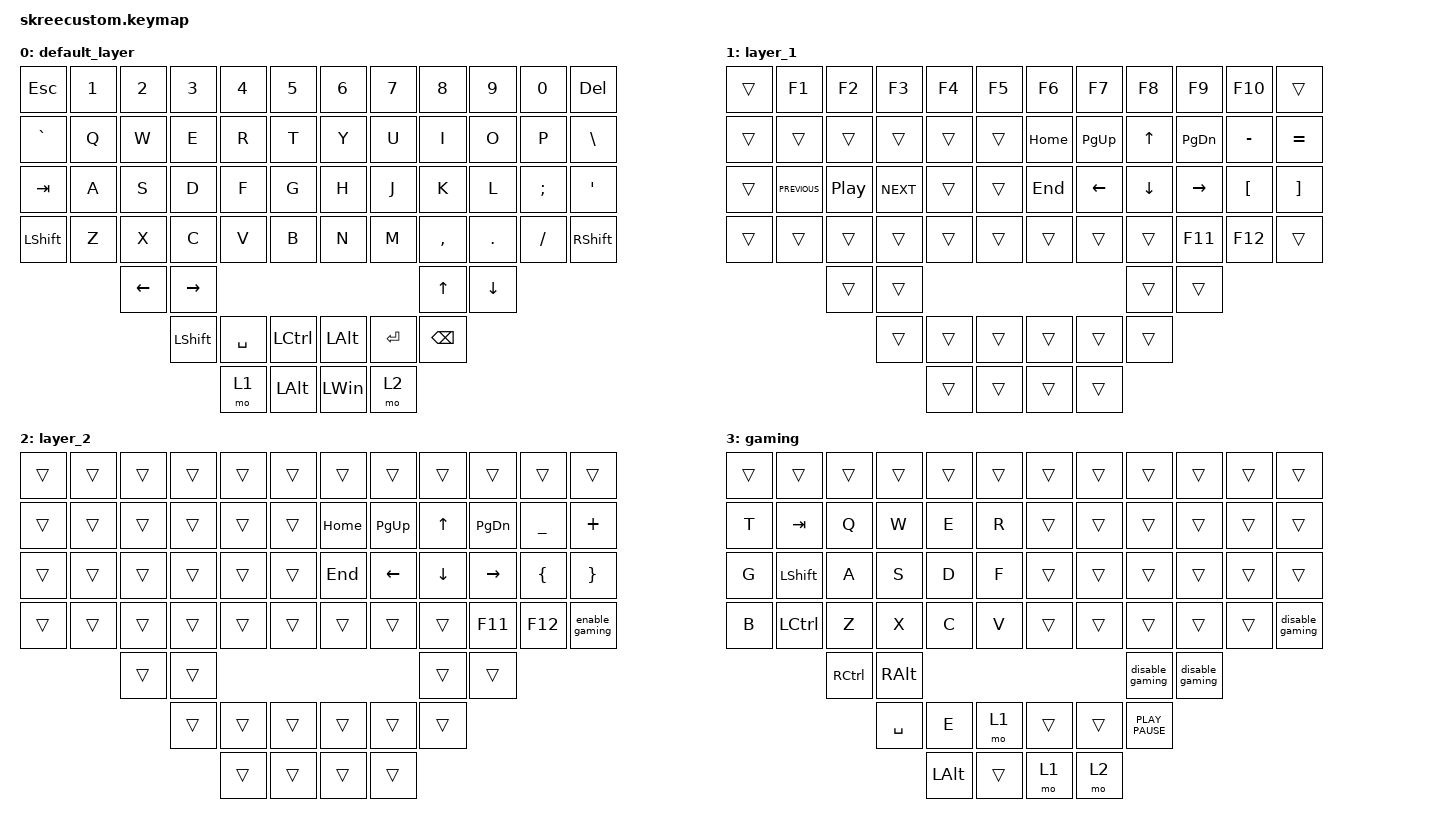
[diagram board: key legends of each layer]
/*
 * Copyright (c) 2020 The ZMK Contributors
 *
 * SPDX-License-Identifier: MIT
 */

#include <input/processors.dtsi>
#include <dt-bindings/zmk/input_transform.h>
#include <behaviors.dtsi>
#include <dt-bindings/zmk/keys.h>
#include <dt-bindings/zmk/rgb.h>

/ {
    macros {
        enable_gaming: enable_gaming {
            compatible = "zmk,behavior-macro";
            #binding-cells = <0>;
            bindings = <&rgb_ug RGB_ON &to 3>;
            label = "ENABLE_GAMING";
        };

        disable_gaming: disable_gaming {
            compatible = "zmk,behavior-macro";
            #binding-cells = <0>;
            bindings = <&rgb_ug RGB_OFF &to 0>;
            label = "DISABLE_GAMING";
        };
    };

    keymap {
        compatible = "zmk,keymap";

        default_layer {
            bindings = <
&kp ESC         &kp N1  &kp N2    &kp N3     &kp N4     &kp N5          &kp N6        &kp N7   &kp N8         &kp N9    &kp N0    &kp DELETE
&kp GRAVE       &kp Q   &kp W     &kp E      &kp R      &kp T           &kp Y         &kp U    &kp I          &kp O     &kp P     &kp BACKSLASH
&kp TAB         &kp A   &kp S     &kp D      &kp F      &kp G           &kp H         &kp J    &kp K          &kp L     &kp SEMI  &kp SQT
&kp LEFT_SHIFT  &kp Z   &kp X     &kp C      &kp V      &kp B           &kp N         &kp M    &kp COMMA      &kp DOT   &kp FSLH  &kp RIGHT_SHIFT
                        &kp LEFT  &kp RIGHT                                                    &kp UP         &kp DOWN
                                  &kp LSHFT  &kp SPACE  &kp LCTRL       &kp LEFT_ALT  &kp RET  &kp BACKSPACE
                                             &mo 1      &kp LEFT_ALT    &kp LEFT_WIN  &mo 2
            >;
        };

        layer_1 {
            bindings = <
&trans  &kp F1          &kp F2            &kp F3      &kp F4  &kp F5    &kp F6    &kp F7       &kp F8        &kp F9         &kp F10           &trans
&trans  &trans          &trans            &trans      &trans  &trans    &kp HOME  &kp PAGE_UP  &kp UP_ARROW  &kp PAGE_DOWN  &kp MINUS         &kp EQUAL
&trans  &kp C_PREVIOUS  &kp C_PLAY_PAUSE  &kp C_NEXT  &trans  &trans    &kp END   &kp LEFT     &kp DOWN      &kp RIGHT      &kp LEFT_BRACKET  &kp RIGHT_BRACKET
&trans  &trans          &trans            &trans      &trans  &trans    &trans    &trans       &trans        &kp F11        &kp F12           &trans
                        &trans            &trans                                               &trans        &trans
                                          &trans      &trans  &trans    &trans    &trans       &trans
                                                      &trans  &trans    &trans    &trans
            >;
        };

        layer_2 {
            bindings = <
&trans  &trans  &trans  &trans  &trans  &trans    &trans    &trans       &trans        &trans         &trans          &trans
&trans  &trans  &trans  &trans  &trans  &trans    &kp HOME  &kp PAGE_UP  &kp UP_ARROW  &kp PAGE_DOWN  &kp UNDER       &kp PLUS
&trans  &trans  &trans  &trans  &trans  &trans    &kp END   &kp LEFT     &kp DOWN      &kp RIGHT      &kp LEFT_BRACE  &kp RIGHT_BRACE
&trans  &trans  &trans  &trans  &trans  &trans    &trans    &trans       &trans        &kp F11        &kp F12         &enable_gaming
                &trans  &trans                                           &trans        &trans
                        &trans  &trans  &trans    &trans    &trans       &trans
                                &trans  &trans    &trans    &trans
            >;
        };

        gaming {
            bindings = <
&trans  &trans          &trans             &trans         &trans        &trans    &trans  &trans  &trans            &trans           &trans  &trans
&kp T   &kp TAB         &kp Q              &kp W          &kp E         &kp R     &trans  &trans  &trans            &trans           &trans  &trans
&kp G   &kp LEFT_SHIFT  &kp A              &kp S          &kp D         &kp F     &trans  &trans  &trans            &trans           &trans  &trans
&kp B   &kp LCTRL       &kp Z              &kp X          &kp C         &kp V     &trans  &trans  &trans            &trans           &trans  &disable_gaming
                        &kp RIGHT_CONTROL  &kp RIGHT_ALT                                          &disable_gaming   &disable_gaming
                                           &kp SPACE      &kp E         &mo 1     &trans  &trans  &kp K_PLAY_PAUSE
                                                          &kp LEFT_ALT  &trans    &mo 1   &mo 2
            >;
        };
    };
};

// //right hand trackball overrides
// &trackball_peripheral_listener {
//     input-processors =
//         <&zip_xy_transform INPUT_TRANSFORM_XY_SWAP>,//this gets it to the default installation orientation
//         <&zip_temp_layer 3 500>;//activate layer 3 within 500ms of the trackball moving
// };
// //left hand trackball overrides
// &trackball_central_listener {
//     input-processors = 
//         <&zip_xy_transform INPUT_TRANSFORM_XY_SWAP>,//this gets it to the default installation orientation
//         <&zip_xy_scaler 1 3>,//multiply sensitivity by 1, divide by 3 (make it slower for scrolling)
//         <&zip_xy_to_scroll_mapper>,//make this trackball output scrolling events by default instead of cursor movement
//         <&zip_scroll_transform INPUT_TRANSFORM_Y_INVERT>;//invert vertical scrolling so that the view moves in the same direction as the top of the trackball.
// };
